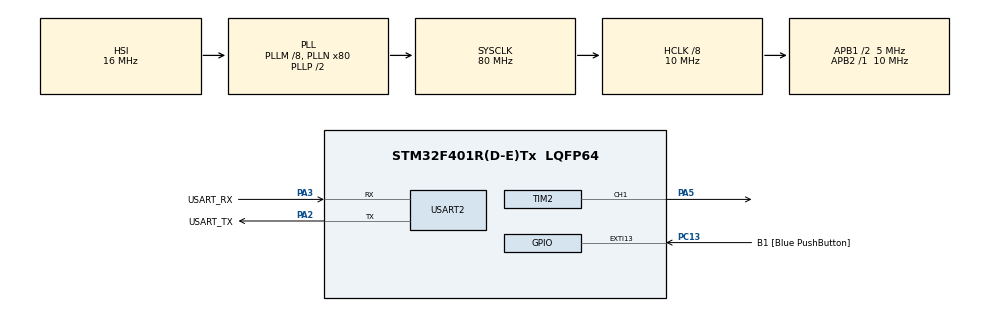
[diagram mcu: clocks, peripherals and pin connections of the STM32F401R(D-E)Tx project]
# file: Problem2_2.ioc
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Mcu.Family=STM32F4
Mcu.Name=STM32F401R(D-E)Tx
Mcu.Package=LQFP64
NVIC.EXTI15_10_IRQn=true\:2\:0\:true\:false\:true\:true\:true\:true
NVIC.PriorityGroup=NVIC_PRIORITYGROUP_2
PA13.GPIO_Label=TMS
PA13.Mode=Serial_Wire
PA13.Signal=SYS_JTMS-SWDIO
PA14.GPIO_Label=TCK
PA14.Mode=Serial_Wire
PA14.Signal=SYS_JTCK-SWCLK
PA2.GPIO_Label=USART_TX
PA2.GPIO_Mode=GPIO_MODE_AF_PP
PA2.GPIO_PuPd=GPIO_NOPULL
PA2.GPIO_Speed=GPIO_SPEED_FREQ_LOW
PA2.Mode=Asynchronous
PA2.Signal=USART2_TX
PA3.GPIO_Label=USART_RX
PA3.GPIO_Mode=GPIO_MODE_AF_PP
PA3.GPIO_PuPd=GPIO_NOPULL
PA3.GPIO_Speed=GPIO_SPEED_FREQ_LOW
PA3.Mode=Asynchronous
PA3.Signal=USART2_RX
PA5.Signal=S_TIM2_CH1_ETR
PB3.GPIO_Label=SWO
PB3.Signal=SYS_JTDO-SWO
PC13-ANTI_TAMP.GPIO_Label=B1 [Blue PushButton]
PC13-ANTI_TAMP.GPIO_ModeDefaultEXTI=GPIO_MODE_IT_FALLING
PC13-ANTI_TAMP.GPIO_PuPd=GPIO_NOPULL
PC13-ANTI_TAMP.Signal=GPXTI13
PC14-OSC32_IN.Mode=LSE-External-Oscillator
PC14-OSC32_IN.Signal=RCC_OSC32_IN
PC15-OSC32_OUT.Mode=LSE-External-Oscillator
PC15-OSC32_OUT.Signal=RCC_OSC32_OUT
PH0\ -\ OSC_IN.Mode=HSE-External-Clock-Source
PH0\ -\ OSC_IN.Signal=RCC_OSC_IN
PH1\ -\ OSC_OUT.Mode=HSE-External-Clock-Source
PH1\ -\ OSC_OUT.Signal=RCC_OSC_OUT
ProjectManager.HeapSize=0x200
ProjectManager.StackSize=0x400
ProjectManager.TargetToolchain=STM32CubeIDE
RCC.48MHZClocksFreq_Value=22857142.85714286
RCC.AHBCLKDivider=RCC_SYSCLK_DIV8
RCC.AHBFreq_Value=10000000
RCC.APB1CLKDivider=RCC_HCLK_DIV2
RCC.APB1Freq_Value=5000000
RCC.APB1TimFreq_Value=10000000
RCC.APB2Freq_Value=10000000
RCC.APB2TimFreq_Value=10000000
RCC.CortexFreq_Value=10000000
RCC.HCLKFreq_Value=10000000
RCC.HSE_VALUE=8000000
RCC.HSI_VALUE=16000000
RCC.PLLM=8
RCC.PLLN=80
RCC.PLLQ=7
RCC.SYSCLKFreq_VALUE=80000000
RCC.SYSCLKSource=RCC_SYSCLKSOURCE_PLLCLK
RCC.VCOOutputFreq_Value=160000000
SH.S_TIM2_CH1_ETR.0=TIM2_CH1,PWM Generation1 CH1
TIM2.AutoReloadPreload=TIM_AUTORELOAD_PRELOAD_DISABLE
TIM2.Channel-PWM\ Generation1\ CH1=TIM_CHANNEL_1
TIM2.Period=99
TIM2.Prescaler=9
USART2.VirtualMode=VM_ASYNC
VP_TIM2_VS_ClockSourceINT.Mode=Internal
board=NUCLEO-F401RE

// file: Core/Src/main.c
/* USER CODE BEGIN Header */
/**
  ******************************************************************************
  * @file           : main.c
  * @brief          : Main program body
  ******************************************************************************
  * @attention
  *
  * Copyright (c) 2024 STMicroelectronics.
  * All rights reserved.
  *
  * This software is licensed under terms that can be found in the LICENSE file
  * in the root directory of this software component.
  * If no LICENSE file comes with this software, it is provided AS-IS.
  *
  ******************************************************************************
  */
/* USER CODE END Header */
#include "main.h"

TIM_HandleTypeDef htim2;

UART_HandleTypeDef huart2;

void SystemClock_Config(void);
static void MX_GPIO_Init(void);
static void MX_USART2_UART_Init(void);
static void MX_TIM2_Init(void);

/* USER CODE BEGIN 0 */

int num = 10;
int bright = 0;
char buffer[5];
int tick = 0;
void HAL_GPIO_EXTI_Callback(uint16_t GPIO_Pin){
	int thisTick = HAL_GetTick();
	if(thisTick - tick < 200){
		return;
	}
	tick = thisTick;

	num = num%10 + 1;
	if(num == 1) bright = 20;
	else if(num == 2) bright = 40;
	else if(num == 3) bright = 60;
	else if(num == 4) bright = 80;
	else if(num == 5) bright = 100;
	else if(num == 6) bright = 80;
	else if(num == 7) bright = 60;
	else if(num == 8) bright = 40;
	else if(num == 9) bright = 20;
	else if(num == 10) bright = 0;

	TIM2->CCR1 = bright;
	sprintf(buffer, "%d", bright);
	if(num != 10) HAL_UART_Transmit(&huart2, buffer, sizeof(buffer), 10);
	int reset = 0;
	while(HAL_GPIO_ReadPin(GPIOC, GPIO_PIN_13) == GPIO_PIN_RESET);
	for(int i=0;i<100;i++){
		if(HAL_GPIO_ReadPin(GPIOC, GPIO_PIN_13) == GPIO_PIN_RESET){
			break;
		}

		HAL_Delay(100);
		if(i == 99){
			reset = 1;
		}
	}
	if(reset){
		num = 0;
		bright = 0;
		TIM2->CCR1 = 0;

	}
	HAL_Delay(100);
}

/* USER CODE END 0 */

int main(void)
{

  /* MCU Configuration--------------------------------------------------------*/

  /* Reset of all peripherals, Initializes the Flash interface and the Systick. */
  HAL_Init();

  /* Configure the system clock */
  SystemClock_Config();

  /* Initialize all configured peripherals */
  MX_GPIO_Init();
  MX_USART2_UART_Init();
  MX_TIM2_Init();
  /* USER CODE BEGIN 2 */
  HAL_TIM_Base_Start(&htim2);

  HAL_TIM_PWM_Start(&htim2, TIM_CHANNEL_1);

  int tick2 = 0;
  int lastTick2 = 0;
  /* USER CODE END 2 */

  /* Infinite loop */
  while (1)
  {

  }
}

void SystemClock_Config(void)
{
  RCC_OscInitTypeDef RCC_OscInitStruct = {0};
  RCC_ClkInitTypeDef RCC_ClkInitStruct = {0};

  /** Configure the main internal regulator output voltage
  */
  __HAL_RCC_PWR_CLK_ENABLE();
  __HAL_PWR_VOLTAGESCALING_CONFIG(PWR_REGULATOR_VOLTAGE_SCALE2);

  /** Initializes the RCC Oscillators according to the specified parameters
  * in the RCC_OscInitTypeDef structure.
  */
  RCC_OscInitStruct.OscillatorType = RCC_OSCILLATORTYPE_HSI;
  RCC_OscInitStruct.HSIState = RCC_HSI_ON;
  RCC_OscInitStruct.HSICalibrationValue = RCC_HSICALIBRATION_DEFAULT;
  RCC_OscInitStruct.PLL.PLLState = RCC_PLL_ON;
  RCC_OscInitStruct.PLL.PLLSource = RCC_PLLSOURCE_HSI;
  RCC_OscInitStruct.PLL.PLLM = 8;
  RCC_OscInitStruct.PLL.PLLN = 80;
  RCC_OscInitStruct.PLL.PLLP = RCC_PLLP_DIV2;
  RCC_OscInitStruct.PLL.PLLQ = 7;
  if (HAL_RCC_OscConfig(&RCC_OscInitStruct) != HAL_OK)
  {
    Error_Handler();
  }

  /** Initializes the CPU, AHB and APB buses clocks
  */
  RCC_ClkInitStruct.ClockType = RCC_CLOCKTYPE_HCLK|RCC_CLOCKTYPE_SYSCLK
                              |RCC_CLOCKTYPE_PCLK1|RCC_CLOCKTYPE_PCLK2;
  RCC_ClkInitStruct.SYSCLKSource = RCC_SYSCLKSOURCE_PLLCLK;
  RCC_ClkInitStruct.AHBCLKDivider = RCC_SYSCLK_DIV8;
  RCC_ClkInitStruct.APB1CLKDivider = RCC_HCLK_DIV2;
  RCC_ClkInitStruct.APB2CLKDivider = RCC_HCLK_DIV1;

  if (HAL_RCC_ClockConfig(&RCC_ClkInitStruct, FLASH_LATENCY_0) != HAL_OK)
  {
    Error_Handler();
  }
}

static void MX_TIM2_Init(void)
{

  TIM_ClockConfigTypeDef sClockSourceConfig = {0};
  TIM_MasterConfigTypeDef sMasterConfig = {0};
  TIM_OC_InitTypeDef sConfigOC = {0};

  htim2.Instance = TIM2;
  htim2.Init.Prescaler = 9;
  htim2.Init.CounterMode = TIM_COUNTERMODE_UP;
  htim2.Init.Period = 99;
  htim2.Init.ClockDivision = TIM_CLOCKDIVISION_DIV1;
  htim2.Init.AutoReloadPreload = TIM_AUTORELOAD_PRELOAD_DISABLE;
  if (HAL_TIM_Base_Init(&htim2) != HAL_OK)
  {
    Error_Handler();
  }
  sClockSourceConfig.ClockSource = TIM_CLOCKSOURCE_INTERNAL;
  if (HAL_TIM_ConfigClockSource(&htim2, &sClockSourceConfig) != HAL_OK)
  {
    Error_Handler();
  }
  if (HAL_TIM_PWM_Init(&htim2) != HAL_OK)
  {
    Error_Handler();
  }
  sMasterConfig.MasterOutputTrigger = TIM_TRGO_RESET;
  sMasterConfig.MasterSlaveMode = TIM_MASTERSLAVEMODE_DISABLE;
  if (HAL_TIMEx_MasterConfigSynchronization(&htim2, &sMasterConfig) != HAL_OK)
  {
    Error_Handler();
  }
  sConfigOC.OCMode = TIM_OCMODE_PWM1;
  sConfigOC.Pulse = 0;
  sConfigOC.OCPolarity = TIM_OCPOLARITY_HIGH;
  sConfigOC.OCFastMode = TIM_OCFAST_DISABLE;
  if (HAL_TIM_PWM_ConfigChannel(&htim2, &sConfigOC, TIM_CHANNEL_1) != HAL_OK)
  {
    Error_Handler();
  }
  HAL_TIM_MspPostInit(&htim2);

}

static void MX_USART2_UART_Init(void)
{

  huart2.Instance = USART2;
  huart2.Init.BaudRate = 115200;
  huart2.Init.WordLength = UART_WORDLENGTH_8B;
  huart2.Init.StopBits = UART_STOPBITS_1;
  huart2.Init.Parity = UART_PARITY_NONE;
  huart2.Init.Mode = UART_MODE_TX_RX;
  huart2.Init.HwFlowCtl = UART_HWCONTROL_NONE;
  huart2.Init.OverSampling = UART_OVERSAMPLING_16;
  if (HAL_UART_Init(&huart2) != HAL_OK)
  {
    Error_Handler();
  }

}

static void MX_GPIO_Init(void)
{
  GPIO_InitTypeDef GPIO_InitStruct = {0};

  /* GPIO Ports Clock Enable */
  __HAL_RCC_GPIOC_CLK_ENABLE();
  __HAL_RCC_GPIOH_CLK_ENABLE();
  __HAL_RCC_GPIOA_CLK_ENABLE();
  __HAL_RCC_GPIOB_CLK_ENABLE();

  /*Configure GPIO pin : B1_Pin */
  GPIO_InitStruct.Pin = B1_Pin;
  GPIO_InitStruct.Mode = GPIO_MODE_IT_FALLING;
  GPIO_InitStruct.Pull = GPIO_NOPULL;
  HAL_GPIO_Init(B1_GPIO_Port, &GPIO_InitStruct);

  /* EXTI interrupt init*/
  HAL_NVIC_SetPriority(EXTI15_10_IRQn, 2, 0);
  HAL_NVIC_EnableIRQ(EXTI15_10_IRQn);

}

void Error_Handler(void)
{
  __disable_irq();
  while (1)
  {
  }
}
